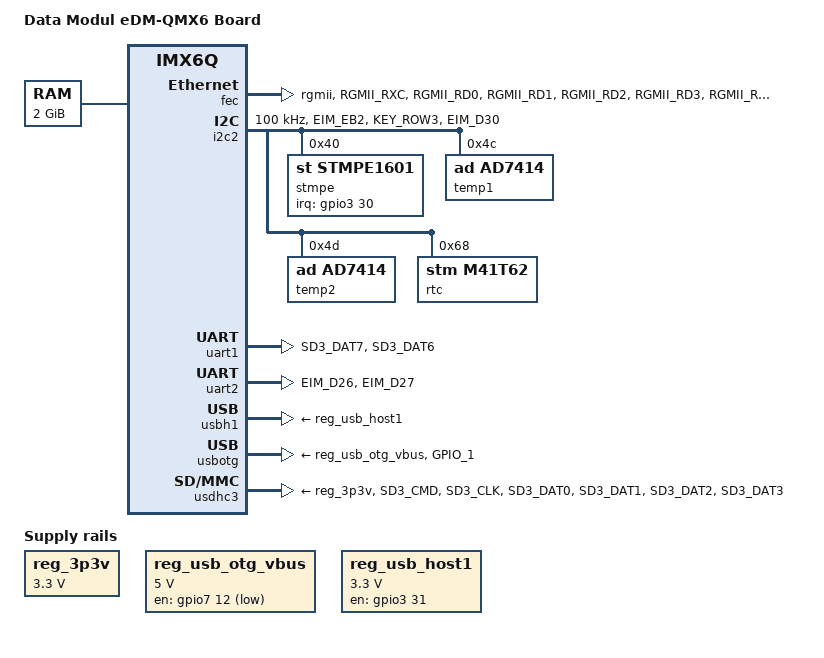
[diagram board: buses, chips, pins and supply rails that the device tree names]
/*
 * Copyright 2013 Data Modul AG
 *
 * The code contained herein is licensed under the GNU General Public
 * License. You may obtain a copy of the GNU General Public License
 * Version 2 or later at the following locations:
 *
 * http://www.opensource.org/licenses/gpl-license.html
 * http://www.gnu.org/copyleft/gpl.html
 */

/dts-v1/;

#include "imx6q.dtsi"

/ {
	model = "Data Modul eDM-QMX6 Board";
	compatible = "dmo,imx6q-edmqmx6", "fsl,imx6q";

	aliases {
		gpio7 = &stmpe_gpio;
	};

	memory {
		reg = <0x10000000 0x80000000>;
	};

	regulators {
		compatible = "simple-bus";
		#address-cells = <1>;
		#size-cells = <0>;

		reg_3p3v: regulator@0 {
			compatible = "regulator-fixed";
			reg = <0>;
			regulator-name = "3P3V";
			regulator-min-microvolt = <3300000>;
			regulator-max-microvolt = <3300000>;
			regulator-always-on;
		};

		reg_usb_otg_vbus: regulator@1 {
			compatible = "regulator-fixed";
			reg = <1>;
			regulator-name = "usb_otg_vbus";
			regulator-min-microvolt = <5000000>;
			regulator-max-microvolt = <5000000>;
			gpio = <&gpio7 12 0>;
		};

		reg_usb_host1: regulator@2 {
			compatible = "regulator-fixed";
			reg = <2>;
			regulator-name = "usb_host1_en";
			regulator-min-microvolt = <3300000>;
			regulator-max-microvolt = <3300000>;
			gpio = <&gpio3 31 0>;
			enable-active-high;
		};
	};
};

&fec {
	pinctrl-names = "default";
	pinctrl-0 = <&pinctrl_enet>;
	phy-mode = "rgmii";
	phy-reset-gpios = <&gpio3 23 0>;
	status = "okay";
};

&i2c2 {
	clock-frequency = <100000>;
	pinctrl-names = "default";
	pinctrl-0 = <&pinctrl_i2c2
		     &pinctrl_stmpe>;
	status = "okay";

	stmpe: stmpe1601@40 {
		compatible = "st,stmpe1601";
		reg = <0x40>;
		interrupts = <30 0>;
		interrupt-parent = <&gpio3>;

		stmpe_gpio: stmpe_gpio {
			compatible = "st,stmpe-gpio";
		};
	};

	temp1: ad7414@4c {
		compatible = "ad,ad7414";
		reg = <0x4c>;
	};

	temp2: ad7414@4d {
		compatible = "ad,ad7414";
		reg = <0x4d>;
	};

	rtc: m41t62@68 {
		compatible = "stm,m41t62";
		reg = <0x68>;
	};
};

&iomuxc {
	pinctrl-names = "default";
	pinctrl-0 = <&pinctrl_hog>;

	imx6q-dmo-edmqmx6 {
		pinctrl_hog: hoggrp {
			fsl,pins = <
				MX6QDL_PAD_EIM_A16__GPIO2_IO22 0x80000000
				MX6QDL_PAD_EIM_A17__GPIO2_IO21 0x80000000
			>;
		};

		pinctrl_enet: enetgrp {
			fsl,pins = <
				MX6QDL_PAD_RGMII_RXC__RGMII_RXC		0x1b0b0
				MX6QDL_PAD_RGMII_RD0__RGMII_RD0		0x1b0b0
				MX6QDL_PAD_RGMII_RD1__RGMII_RD1		0x1b0b0
				MX6QDL_PAD_RGMII_RD2__RGMII_RD2		0x1b0b0
				MX6QDL_PAD_RGMII_RD3__RGMII_RD3		0x1b0b0
				MX6QDL_PAD_RGMII_RX_CTL__RGMII_RX_CTL	0x1b0b0
				MX6QDL_PAD_RGMII_TXC__RGMII_TXC		0x1b0b0
				MX6QDL_PAD_RGMII_TD0__RGMII_TD0		0x1b0b0
				MX6QDL_PAD_RGMII_TD1__RGMII_TD1		0x1b0b0
				MX6QDL_PAD_RGMII_TD2__RGMII_TD2		0x1b0b0
				MX6QDL_PAD_RGMII_TD3__RGMII_TD3		0x1b0b0
				MX6QDL_PAD_RGMII_TX_CTL__RGMII_TX_CTL	0x1b0b0
				MX6QDL_PAD_ENET_REF_CLK__ENET_TX_CLK	0x1b0b0
				MX6QDL_PAD_ENET_MDIO__ENET_MDIO		0x1b0b0
				MX6QDL_PAD_ENET_MDC__ENET_MDC		0x1b0b0
				MX6QDL_PAD_GPIO_16__ENET_REF_CLK	0x4001b0a8
			>;
		};

		pinctrl_i2c2: i2c2grp {
			fsl,pins = <
				MX6QDL_PAD_EIM_EB2__I2C2_SCL		0x4001b8b1
				MX6QDL_PAD_KEY_ROW3__I2C2_SDA		0x4001b8b1
			>;
		};

		pinctrl_stmpe: stmpegrp {
			fsl,pins = <MX6QDL_PAD_EIM_D30__GPIO3_IO30 0x80000000>;
		};

		pinctrl_uart1: uart1grp {
			fsl,pins = <
				MX6QDL_PAD_SD3_DAT7__UART1_TX_DATA	0x1b0b1
				MX6QDL_PAD_SD3_DAT6__UART1_RX_DATA	0x1b0b1
			>;
		};

		pinctrl_uart2: uart2grp {
			fsl,pins = <
				MX6QDL_PAD_EIM_D26__UART2_TX_DATA	0x1b0b1
				MX6QDL_PAD_EIM_D27__UART2_RX_DATA	0x1b0b1
			>;
		};

		pinctrl_usbotg: usbotggrp {
			fsl,pins = <
				MX6QDL_PAD_GPIO_1__USB_OTG_ID		0x17059
			>;
		};

		pinctrl_usdhc3: usdhc3grp {
			fsl,pins = <
				MX6QDL_PAD_SD3_CMD__SD3_CMD		0x17059
				MX6QDL_PAD_SD3_CLK__SD3_CLK		0x10059
				MX6QDL_PAD_SD3_DAT0__SD3_DATA0		0x17059
				MX6QDL_PAD_SD3_DAT1__SD3_DATA1		0x17059
				MX6QDL_PAD_SD3_DAT2__SD3_DATA2		0x17059
				MX6QDL_PAD_SD3_DAT3__SD3_DATA3		0x17059
			>;
		};
	};
};

&uart1 {
	pinctrl-names = "default";
	pinctrl-0 = <&pinctrl_uart1>;
	status = "okay";
};

&uart2 {
	pinctrl-names = "default";
	pinctrl-0 = <&pinctrl_uart2>;
	status = "okay";
};

&usbh1 {
	vbus-supply = <&reg_usb_host1>;
	disable-over-current;
	status = "okay";
};

&usbotg {
	vbus-supply = <&reg_usb_otg_vbus>;
	pinctrl-names = "default";
	pinctrl-0 = <&pinctrl_usbotg>;
	disable-over-current;
	status = "okay";
};

&usdhc3 {
	pinctrl-names = "default";
	pinctrl-0 = <&pinctrl_usdhc3>;
	vmmc-supply = <&reg_3p3v>;
	status = "okay";
};
